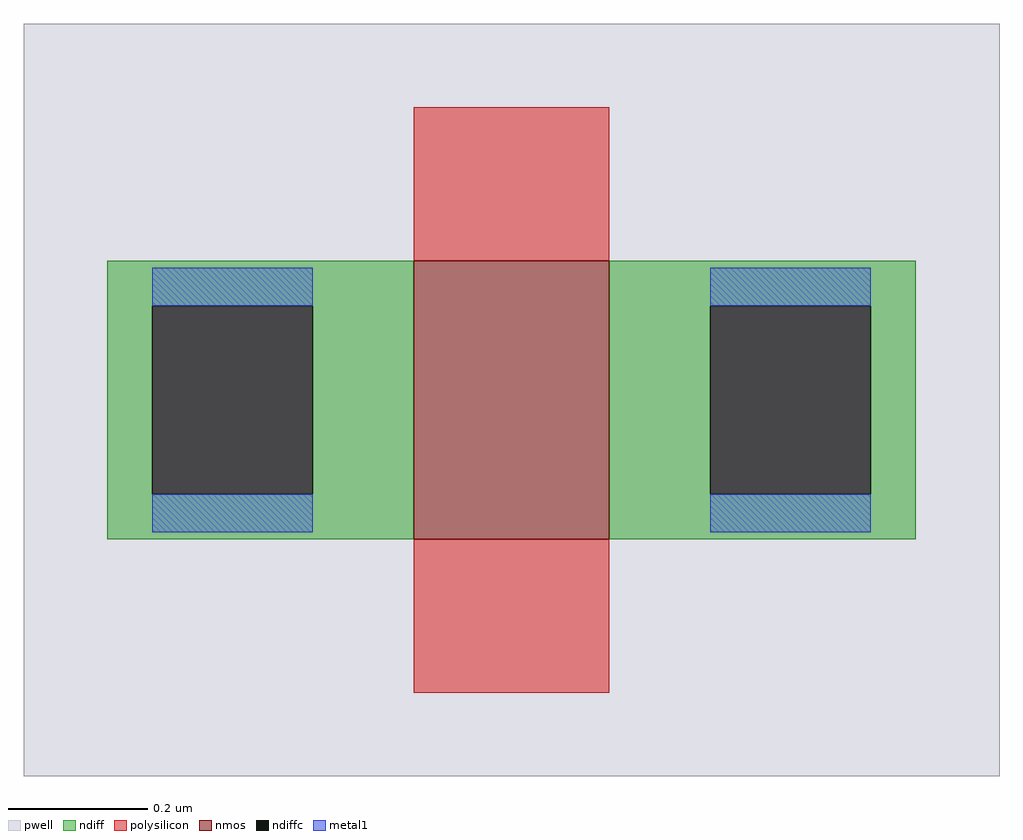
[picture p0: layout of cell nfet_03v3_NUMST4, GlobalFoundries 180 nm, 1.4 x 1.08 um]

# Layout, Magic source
magic
tech gf180mcuC
magscale 1 10
<< pwell >>
rect -140 -108 140 108
<< nmos >>
rect -28 -40 28 40
<< ndiff >>
rect -116 27 -28 40
rect -116 -27 -103 27
rect -57 -27 -28 27
rect -116 -40 -28 -27
rect 28 27 116 40
rect 28 -27 57 27
rect 103 -27 116 27
rect 28 -40 116 -27
<< ndiffc >>
rect -103 -27 -57 27
rect 57 -27 103 27
<< polysilicon >>
rect -28 40 28 84
rect -28 -84 28 -40
<< metal1 >>
rect -103 27 -57 38
rect -103 -38 -57 -27
rect 57 27 103 38
rect 57 -38 103 -27
<< properties >>
string gencell nfet_03v3
string library gf180mcu
string parameters w 0.4 l 0.280 m 1 nf 1 diffcov 100 polycov 100 guard 0 glc 0 grc 0 gtc 0 gbc 0 tbcov 100 rlcov 100 topc 0 botc 0 poverlap 0 doverlap 1 lmin 0.28 wmin 0.22 full_metal 0 compatible {nfet_03v3 nfet_06v0 nfet_06v0_nvt}
<< end >>
